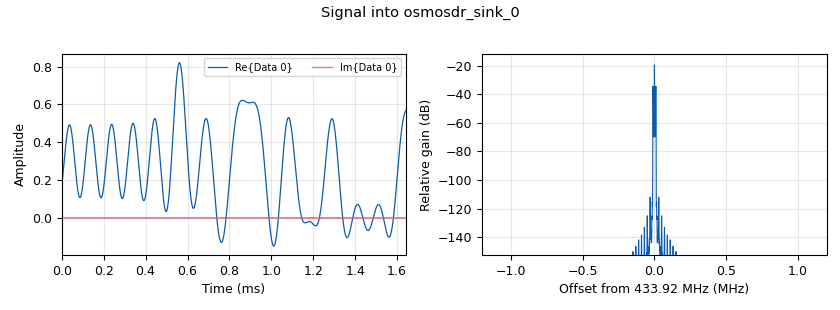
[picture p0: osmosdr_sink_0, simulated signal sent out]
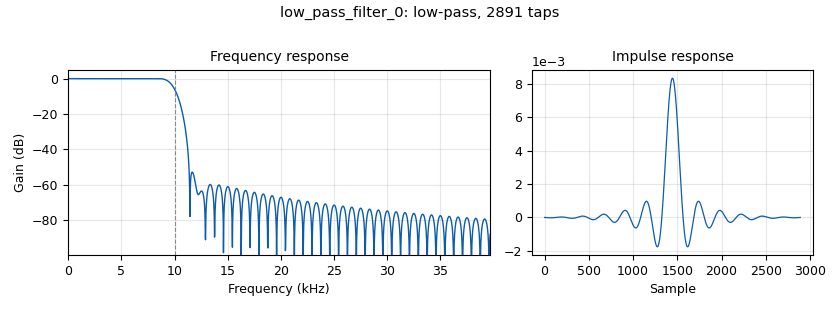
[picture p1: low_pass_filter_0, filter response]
options:
  parameters:
    generate_options: qt_gui
    id: ooktransmit
    output_language: python
    title: Not titled yet
  states: {}

blocks:
- name: samp_rate
  id: variable
  parameters:
    value: 2.4e6
  states: {}
- name: analog_const_source_x_0
  id: analog_const_source_x
  parameters:
    const: '0'
    type: float
  states: {}
- name: blocks_char_to_float_0
  id: blocks_char_to_float
  parameters:
    scale: '1'
  states: {}
- name: blocks_float_to_complex_0
  id: blocks_float_to_complex
  parameters: {}
  states: {}
- name: blocks_multiply_const_vxx_0
  id: blocks_multiply_const_vxx
  parameters:
    const: '0.6'
    type: complex
  states: {}
- name: blocks_repack_bits_bb_0
  id: blocks_repack_bits_bb
  parameters:
    endianness: gr.GR_MSB_FIRST
    k: '8'
    l: '1'
  states: {}
- name: blocks_repeat_0
  id: blocks_repeat
  parameters:
    interp: '120'
    type: byte
  states: {}
- name: blocks_vector_source_x_0
  id: blocks_vector_source_x
  parameters:
    repeat: 'True'
    type: byte
    vector: |
      (0xAA, 0xAA, 0xAA, 0xAA, 0xAA, 0xAA, 0xAA, 0xAA, 0xD3, 0x91, 0x03, 0xAB, 0xAB, 0xAB)
  states: {}
- name: low_pass_filter_0
  id: low_pass_filter
  parameters:
    cutoff_freq: 10e3
    decim: '1'
    gain: '1'
    samp_rate: samp_rate
    type: fir_filter_ccf
    width: 2e3
    win: window.WIN_HAMMING
  states: {}
- name: osmosdr_sink_0
  id: osmosdr_sink
  parameters:
    bb_gain0: '16'
    freq0: 433.92e6
    gain0: '10'
    if_gain0: '16'
    sample_rate: samp_rate
    sync: sync
    type: fc32
  states: {}

connections:
- [analog_const_source_x_0, '0', blocks_float_to_complex_0, '1']
- [blocks_char_to_float_0, '0', blocks_float_to_complex_0, '0']
- [blocks_float_to_complex_0, '0', blocks_multiply_const_vxx_0, '0']
- [blocks_multiply_const_vxx_0, '0', low_pass_filter_0, '0']
- [blocks_repack_bits_bb_0, '0', blocks_repeat_0, '0']
- [blocks_repeat_0, '0', blocks_char_to_float_0, '0']
- [blocks_vector_source_x_0, '0', blocks_repack_bits_bb_0, '0']
- [low_pass_filter_0, '0', osmosdr_sink_0, '0']

metadata:
  file_format: 1
